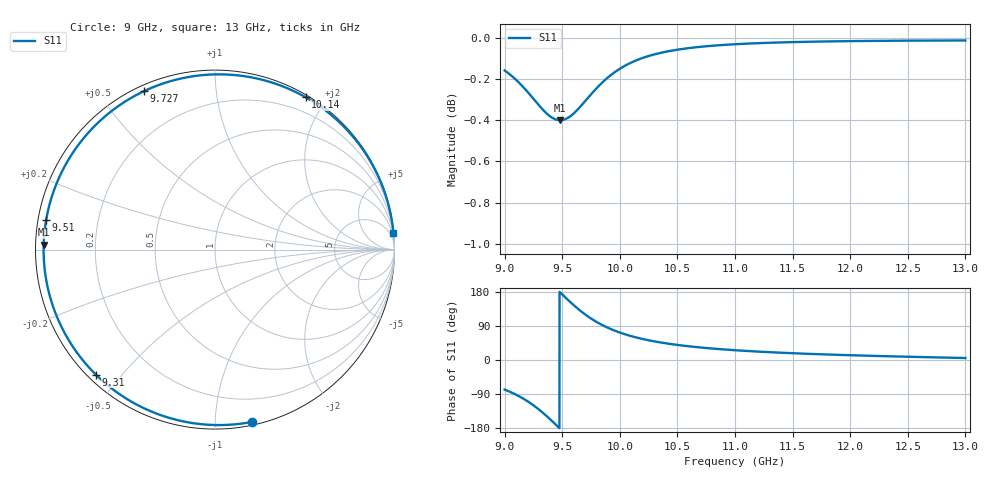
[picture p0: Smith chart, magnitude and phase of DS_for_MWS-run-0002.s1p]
! TOUCHSTONE file generated by CST DESIGN STUDIO
! Date and time: Tue Feb  4 13:33:40 2025
! Project name: C:\Work\MatlabApps\UnitCellOptimizationMatlab\CST\unitcell.cst
! Tree item: Tasks\Sweep1\SPara1\S-Parameters
! Header version: 2024
! Port assignment regex: !\s*Touchstone port\s*([0-9]+)\s*=\s*(CST MWS port|CST DES external port|CST DES block port)\s*(.+)\s* \(\"(.*)\"\)(\s*mode\s*([0-9]+))?.*
! Touchstone port assignment:
! Touchstone port 1 = CST DES external port 1 ("")
# GHz S MA R 50
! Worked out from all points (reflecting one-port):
!   4001 points, 9 GHz to 13 GHz, reference 50 ohm
!   lowest |S11| = -0.4 dB at 9.482 GHz (marker M1), VSWR 43.45, Z = 1.15 + j0.704 ohm
!   phase of S11 starts at -78 deg and turns -277 deg over the sweep
!   S11 on the Smith chart (normalised r, x): 9 GHz: 0.02, -1.23; 9.31 GHz: 0.02, -0.43; 9.51 GHz: 0.02, +0.09; 9.727 GHz: 0.02, +0.65; 10.14 GHz: 0.03, +1.76; 13 GHz: 0, +22
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9  0.982 -78.0
9.078  0.9781 -88.3
9.176  0.9719 -104.5
9.245  0.9669 -118.4
9.31  0.9622 -133.6
9.355  0.9592 -145.3
9.403  0.9567 -158.6
9.443  0.9554 -170.1
9.482  0.955 178.4
9.5  0.9551 173.1
9.51  0.9552 170.1
9.562  0.9568 155.2
9.622  0.96 138.9
9.674  0.9635 126.0
9.727  0.9673 114.2
9.782  0.9711 103.4
9.843  0.9751 92.9
9.92  0.9793 81.9
10  0.9829 72.4
10.145  0.9876 59.3
10.306  0.9909 48.8
10.5  0.9935 39.8
10.722  0.9952 32.4
11  0.9965 25.8
11.5  0.9977 17.9
12  0.9982 12.6
12.5  0.9985 8.6
13  0.9986 5.2
